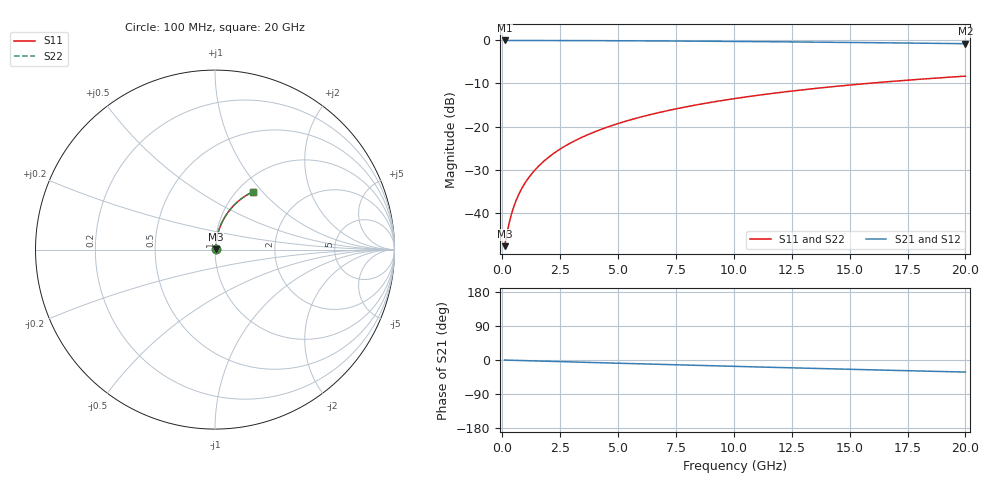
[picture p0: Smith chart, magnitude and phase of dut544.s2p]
! Touchstone file exported from HFSS 2026.1.0
!  File:  C:/ffzhzh/LocalFiles/Ansys_Project_Files/temp_train_TMRDL_544_1783007540_55676.aedt
!  Generated:  11:53:45 PM Jul  2, 2026
!  Design:  TMRDL
!  Project:  temp_train_TMRDL_544_1783007540_55676
! Variables:
!  h_bsmrdl = 2um
!  h_ox = 20um
!  h_rdl = 5um
!  h_sub = 80um
!  h_tmrdl = 2.67um
!  h_tsv = 80um
!  h_via = 3um
!  l_bsmrdl = 300um
!  l_sub = 765.92um
!  l_tmrdl = 365.92um
!  m_sub = 200um
!  pitch = 55.16um
!  r_tsv = 6um
!  s_tmrdl = 10um
!  w_bsmrdl = 18um
!  w_sub = 500um
!  w_tmrdl = 15.1um
!  x_tsv_center1 = 373.47um
!  x_tsv_center2 = 691.47um
!  x_tsv_center3 = 1072.49um
!  x_tsv_center4 = 1390.49um
!  x_tsv_center5 = 1771.51um
!  x_tsv_center6 = 2089.51um
# GHz S MA R 50.000000
! Terminal data exported
! Port[1] = TM_RDL1_1_T1
! Port[2] = TM_RDL1_1_T2
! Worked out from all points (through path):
!   200 points, 100 MHz to 20 GHz, reference 50 ohm
!   highest |S21| = -0.03 dB at 100 MHz (marker M1); lowest = -0.8 dB at 20 GHz (marker M2)
!   group delay of S21, straight-line fit = 4.44 ps
!   lowest |S11| = -47.7 dB at 100 MHz (marker M3), VSWR 1.01, Z = 50.3 + j0.23 ohm
!   |S11| at or under -10 dB: start of sweep to 15.76 GHz
!   |S22| runs from -47.7 to -8.3 dB; largest |S21 - S12| = 2.6e-15
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0.1  0.004106 33.8  0.9966 -0.2  0.9966 -0.2  0.004106 33.8
! Gamma 0 0 0 0
! Port Impedance 50 0 50 0
0.2  0.005732 52.7  0.9965 -0.4  0.9965 -0.4  0.005732 52.7
0.3  0.00769 62.3  0.9965 -0.5  0.9965 -0.5  0.00769 62.3
0.4  0.009763 67.8  0.9964 -0.7  0.9964 -0.7  0.009763 67.8
0.5  0.01188 71.2  0.9963 -0.9  0.9963 -0.9  0.01188 71.2
0.6  0.01401 73.5  0.9962 -1.0  0.9962 -1.0  0.01401 73.5
0.8  0.01829 76.5  0.996 -1.4  0.996 -1.4  0.01829 76.5
1.1  0.02472 78.9  0.9957 -1.9  0.9957 -1.9  0.02472 78.9
1.5  0.03332 80.4  0.9954 -2.6  0.9954 -2.6  0.03332 80.4
1.8  0.03979 80.9  0.9951 -3.1  0.9951 -3.1  0.03979 80.9
2.1  0.04627 81.2  0.9947 -3.6  0.9947 -3.6  0.04627 81.2
2.7  0.05922 81.2  0.9939 -4.6  0.9939 -4.6  0.05922 81.2
3.5  0.07644 80.7  0.9926 -6.0  0.9926 -6.0  0.07644 80.7
4.2  0.09143 79.9  0.9912 -7.2  0.9912 -7.2  0.09143 79.9
5  0.1084 78.9  0.9893 -8.5  0.9893 -8.5  0.1084 78.9
5.9  0.1274 77.7  0.9868 -10.0  0.9868 -10.0  0.1274 77.7
6.8  0.1461 76.4  0.9839 -11.5  0.9839 -11.5  0.1461 76.4
8.3  0.1768 74.1  0.9784 -14.0  0.9784 -14.0  0.1768 74.1
10.1  0.2125 71.4  0.9708 -16.9  0.9708 -16.9  0.2125 71.4
13.4  0.2746 66.4  0.9541 -22.1  0.9541 -22.1  0.2746 66.4
16.7  0.332 61.5  0.935 -27.1  0.935 -27.1  0.332 61.5
20  0.3844 56.8  0.9143 -31.9  0.9143 -31.9  0.3844 56.8
